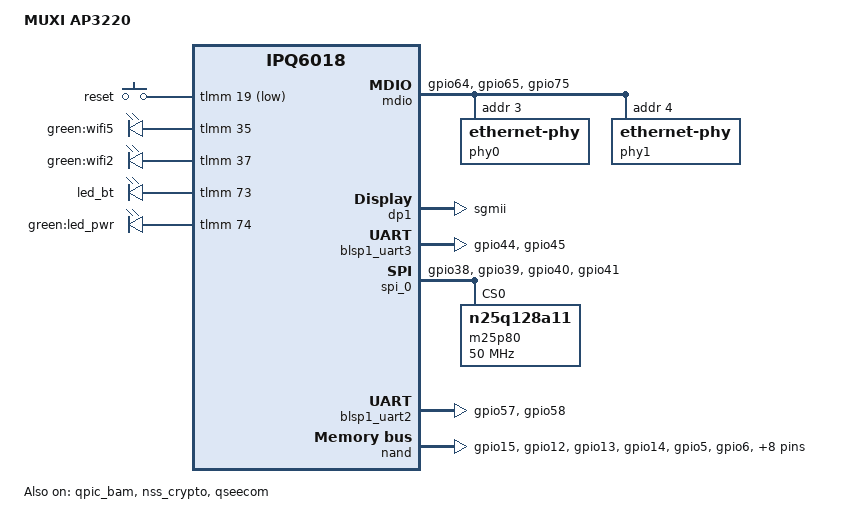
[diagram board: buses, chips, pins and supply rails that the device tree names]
/dts-v1/;
/*
 * Copyright (c) 2019, The Linux Foundation. All rights reserved.
 *
 * Permission to use, copy, modify, and/or distribute this software for any
 * purpose with or without fee is hereby granted, provided that the above
 * copyright notice and this permission notice appear in all copies.
 *
 * THE SOFTWARE IS PROVIDED "AS IS" AND THE AUTHOR DISCLAIMS ALL WARRANTIES
 * WITH REGARD TO THIS SOFTWARE INCLUDING ALL IMPLIED WARRANTIES OF
 * MERCHANTABILITY AND FITNESS. IN NO EVENT SHALL THE AUTHOR BE LIABLE FOR
 * ANY SPECIAL, DIRECT, INDIRECT, OR CONSEQUENTIAL DAMAGES OR ANY DAMAGES
 * WHATSOEVER RESULTING FROM LOSS OF USE, DATA OR PROFITS, WHETHER IN AN
 * ACTION OF CONTRACT, NEGLIGENCE OR OTHER TORTIOUS ACTION, ARISING OUT OF
 * OR IN CONNECTION WITH THE USE OR PERFORMANCE OF THIS SOFTWARE.
 */

#include "qcom-ipq6018.dtsi"
#include "qcom-ipq6018-rpm-regulator.dtsi"
#include "qcom-ipq6018-cpr-regulator.dtsi"
#include "qcom-ipq6018-cp-cpu.dtsi"
#include <dt-bindings/input/input.h>
#include <dt-bindings/gpio/gpio.h>

/ {
	#address-cells = <0x2>;
	#size-cells = <0x2>;
	model = "MUXI AP3220";
	compatible = "muxi,ap3220", "qcom,ipq6018-cp01", "qcom,ipq6018";
	interrupt-parent = <&intc>;
	qcom,msm-id = <0x192 0x0>, <0x193 0x0>;

	aliases {
		serial0 = &blsp1_uart3;
		serial1 = &blsp1_uart2;

		/*
		 * Aliases as required by u-boot
		 * to patch MAC addresses
		 */
		ethernet0 = "/soc/dp1";

		led-boot = &led_power;
		led-failsafe = &led_power;
		led-running = &led_power;
		led-upgrade = &led_power;
	};

	chosen {
		bootargs = "console=ttyMSM0,115200,n8 rw init=/init";
		bootargs-append = " console=ttyMSM0,115200,n8 swiotlb=1 coherent_pool=2M";
	};

	/*
	 * +=========+==============+========================+
	 * |        |              |                         |
	 * | Region | Start Offset |          Size           |
	 * |        |              |                         |
	 * +--------+--------------+-------------------------+
	 * |        |              |                         |
	 * |        |              |                         |
	 * |        |              |                         |
	 * |        |              |                         |
	 * | Linux  |  0x41000000  |         139MB           |
	 * |        |              |                         |
	 * |        |              |                         |
	 * |        |              |                         |
	 * +--------+--------------+-------------------------+
	 * | TZ App |  0x49B00000  |           6MB           |
	 * +--------+--------------+-------------------------+
	 *
	 * From the available 145 MB for Linux in the first 256 MB,
	 * we are reserving 6 MB for TZAPP.
	 *
	 * Refer arch/arm64/boot/dts/qcom/qcom-ipq6018-memory.dtsi
	 * for memory layout.
	 */

/* TZAPP is enabled only in default memory profile */
#if !defined(__IPQ_MEM_PROFILE_256_MB__) && !defined(__IPQ_MEM_PROFILE_512_MB__)
	reserved-memory {
		tzapp:tzapp@49B00000 {	/* TZAPPS */
			no-map;
			reg = <0x0 0x49B00000 0x0 0x00600000>;
		};

		/delete-node/ ramoops@4A0f0000;
		ramoops@49F00000 {
			compatible = "ramoops";
			reg = <0 0x49F00000 0 0x200000>;
			record-size = <0x80000>;
			console-size = <0x80000>;
			pmsg-size = <0x100000>;
		};
	};
#endif
};

&tlmm {
	uart_pins: uart_pins {
		mux {
			pins = "gpio44", "gpio45";
			function = "blsp2_uart";
			drive-strength = <8>;
			bias-pull-down;
		};
	};

	spi_0_pins: spi_0_pins {
		mux {
			pins = "gpio38", "gpio39", "gpio40", "gpio41";
			function = "blsp0_spi";
			drive-strength = <8>;
			bias-pull-down;
		};
	};

	qpic_pins: qpic_pins {
		data_0 {
			pins = "gpio15";
			function = "qpic_pad0";
			drive-strength = <8>;
			bias-pull-down;
		};
		data_1 {
			pins = "gpio12";
			function = "qpic_pad1";
			drive-strength = <8>;
			bias-pull-down;
		};
		data_2 {
			pins = "gpio13";
			function = "qpic_pad2";
			drive-strength = <8>;
			bias-pull-down;
		};
		data_3 {
			pins = "gpio14";
			function = "qpic_pad3";
			drive-strength = <8>;
			bias-pull-down;
		};
		data_4 {
			pins = "gpio5";
			function = "qpic_pad4";
			drive-strength = <8>;
			bias-pull-down;
		};
		data_5 {
			pins = "gpio6";
			function = "qpic_pad5";
			drive-strength = <8>;
			bias-pull-down;
		};
		data_6 {
			pins = "gpio7";
			function = "qpic_pad6";
			drive-strength = <8>;
			bias-pull-down;
		};
		data_7 {
			pins = "gpio8";
			function = "qpic_pad7";
			drive-strength = <8>;
			bias-pull-down;
		};
		qpic_pad {
			pins = "gpio1", "gpio3", "gpio4",
			       "gpio10", "gpio11", "gpio17";
			function = "qpic_pad";
			drive-strength = <8>;
			bias-pull-down;
		};
	};

	button_pins: button_pins {
		wps_button {
			pins = "gpio19";
			function = "gpio";
			drive-strength = <8>;
			bias-pull-up;
		};
	};

	mdio_pins: mdio_pinmux {
		mux_0 {
			pins = "gpio64";
			function = "mdc";
			drive-strength = <8>;
			bias-pull-up;
		};
		mux_1 {
			pins = "gpio65";
			function = "mdio";
			drive-strength = <8>;
			bias-pull-up;
		};
		mux_2 {
			pins = "gpio75";
			function = "gpio";
			bias-pull-up;
		};
	};

	leds_pins: leds_pins {
		led_5g {
			pins = "gpio35";
			function = "gpio";
			drive-strength = <8>;
			bias-pull-down;
		};
		led_2g {
			pins = "gpio37";
			function = "gpio";
			drive-strength = <8>;
			bias-pull-down;
		};
		led_bt {
			pins = "gpio73";
			function = "gpio";
			drive-strength = <8>;
			bias-pull-down;
		};
		led_pwr {
			pins = "gpio74";
			function = "gpio";
			drive-strength = <8>;
			bias-pull-down;
		};
	};
	uart2_pins: uart2_pins {
		mux {
			pins = "gpio57", "gpio58";
			function = "blsp4_uart";
			drive-strength = <8>;
			bias-pull-down;
		};
	};
};

&soc {

	mdio: mdio@90000 {
		pinctrl-0 = <&mdio_pins>;
		pinctrl-names = "default";
		phy-reset-gpio = <&tlmm 75 0>;
		status = "ok";
		phy0: ethernet-phy@0 {
			reg = <3>;    
		};
		phy1: ethernet-phy@1 {
			reg = <4>;
		};
	};

	dp1 {
		device_type = "network";
		compatible = "qcom,nss-dp";
		qcom,id = <4>;
		reg = <0x3a001400 0x200>;
		qcom,mactype = <0>;
		local-mac-address = [000000000000];
		qcom,link-poll = <1>;
		qcom,phy-mdio-addr = <3>;
		phy-mode = "sgmii";
	};

	ess-switch@3a000000 {
		switch_cpu_bmp = <0x1>;  /* cpu port bitmap */
		switch_lan_bmp = <0x08>; /* lan port bitmap */
		switch_wan_bmp = <0x10>; /* wan port bitmap */
		switch_inner_bmp = <0xc0>; /*inner port bitmap*/
		switch_mac_mode = <0x0>; /* mac mode for uniphy instance0*/
		switch_mac_mode1 = <0xff>; /* mac mode for uniphy instance1*/
		switch_mac_mode2 = <0xff>; /* mac mode for uniphy instance2*/
		qcom,port_phyinfo {
			port@3 {
				port_id = <3>;
				phy_address = <4>;
			};
			port@4 {
				port_id = <4>;
				phy_address = <3>;
                        };
		};
	};

	gpio_keys {
		compatible = "gpio-keys";
		pinctrl-0 = <&button_pins>;
		pinctrl-names = "default";

		wps {
			label = "reset";
			linux,code = <KEY_RESTART>;
			gpios = <&tlmm 19 GPIO_ACTIVE_LOW>;
			linux,input-type = <1>;
			debounce-interval = <60>;
		};
	};

	leds {
		compatible = "gpio-leds";
		pinctrl-0 = <&leds_pins>;
		pinctrl-names = "default";

		led@35 {
			label = "green:wifi5";
			gpios = <&tlmm 35 GPIO_ACTIVE_HIGH>;
			default-state = "off";
		};
		led@37 {
			label = "green:wifi2";
			gpios = <&tlmm 37 GPIO_ACTIVE_HIGH>;
			default-state = "off";
		};
		led@73 {
			label = "led_bt";
			gpios = <&tlmm 73 GPIO_ACTIVE_HIGH>;
			default-state = "off";
		};
		led_power: led@74 {
			label = "green:led_pwr";
			gpios = <&tlmm 74 GPIO_ACTIVE_HIGH>;
			linux,default-trigger = "led_pwr";
			default-state = "on";
		};
	};
};

&blsp1_uart3 {
	pinctrl-0 = <&uart_pins>;
	pinctrl-names = "default";
	status = "ok";
};

&spi_0 {
	pinctrl-0 = <&spi_0_pins>;
	pinctrl-names = "default";
	cs-select = <0>;
	status = "ok";

	m25p80@0 {
		#address-cells = <1>;
		#size-cells = <1>;
		reg = <0>;
		compatible = "n25q128a11";
		linux,modalias = "m25p80", "n25q128a11";
		spi-max-frequency = <50000000>;
		use-default-sizes;
	};
};

&blsp1_uart2 {
	pinctrl-0 = <&uart2_pins>;
	pinctrl-names = "default";
	dmas = <&blsp_dma 2>,
		<&blsp_dma 3>;
	dma-names = "tx", "rx";
	status = "ok";
};

&qpic_bam {
	status = "ok";
};

&nand {
	pinctrl-0 = <&qpic_pins>;
	pinctrl-names = "default";
	status = "ok";
};

&nss_crypto {
	status = "ok";
};

/* TZAPP is enabled in default memory profile only */
#if !defined(__IPQ_MEM_PROFILE_256_MB__) && !defined(__IPQ_MEM_PROFILE_512_MB__)
&qseecom {
	mem-start = <0x49B00000>;
	mem-size = <0x600000>;
	status = "ok";
};
#endif
